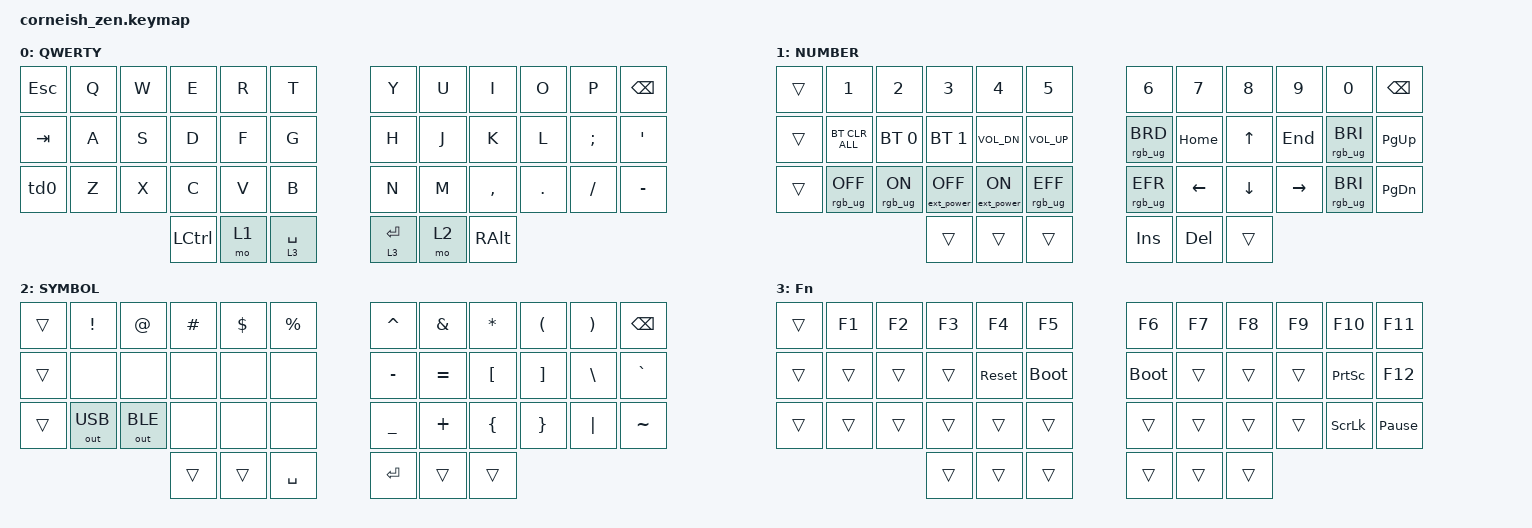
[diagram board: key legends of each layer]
/*
 * Copyright (c) 2020 The ZMK Contributors
 *
 * SPDX-License-Identifier: MIT
 */

#include <behaviors.dtsi>
#include <dt-bindings/zmk/bt.h>
#include <dt-bindings/zmk/ext_power.h>
#include <dt-bindings/zmk/keys.h>
#include <dt-bindings/zmk/outputs.h>
#include <dt-bindings/zmk/rgb.h>

/ {
    chosen {
        zmk,matrix_transform = &default_transform;

        // zmk,matrix_transform = &five_column_transform;
    };
};

/ {
    behaviors {
        td0: td0 {
            compatible = "zmk,behavior-tap-dance";
            label = "TD0";
            #binding-cells = <0>;
            bindings = <&kp LEFT_SHIFT>, <&kp CAPS>;
        };
    };

    keymap {
        compatible = "zmk,keymap";

        default_layer {
            display-name = "QWERTY";

            // --------------------------------------------------------------------------------
            // |  esc |  Q  |  W  |  E  |  R  |  T  |   |  Y  |  U   |  I  |  O  |  P  | BKSP |
            // | tab |  A  |  S  |  D  |  F  |  G  |   |  H  |  J   |  K  |  L  |  ;  |  '   | 
            // | SHFT |  Z  |  X  |  C  |  V  |  B  |   |  N  |  M   |  ,  |  .  |  /  | ESC  |
            //                    | CTRL | LWR | SPC |   | ENT | RSE  | ALT |

            bindings = <
&kp ESC    &kp Q  &kp W  &kp E     &kp R  &kp T          &kp Y        &kp U  &kp I      &kp O    &kp P     &kp BSPC
&kp TAB  &kp A  &kp S  &kp D     &kp F  &kp G          &kp H        &kp J  &kp K      &kp L    &kp SEMI  &kp SQT
&td0       &kp Z  &kp X  &kp C     &kp V  &kp B          &kp N        &kp M  &kp COMMA  &kp DOT  &kp FSLH  &kp MINUS
                         &kp LCTRL  &mo 1  &lt 3 SPACE    &lt 3 ENTER  &mo 2  &kp RALT
            >;
        };

        lower_layer {
            display-name = "NUMBER";

            // -----------------------------------------------------------------------------------------
            // |  TAB |  1  |  2  |  3  |  4  |  5  |   |  6  |  7  |  8  |  9  |  0  | BKSP |
            // | BTCLR| BT1 | BT2 | BT3 | BT4 | BT5 |   | LFT | DWN |  UP | RGT |     |      |
            // | SHFT |     |     |     |     |     |   |     |     |     |     |     |      |
            //                    | GUI |     | SPC |   | ENT |     | ALT |

            bindings = <
&trans  &kp N1           &kp N2          &kp N3             &kp N4            &kp N5             &kp N6           &kp N7           &kp N8           &kp N9           &kp N0            &kp BSPC
&trans  &bt BT_CLR_ALL   &bt BT_SEL 0    &bt BT_SEL 1       &kp C_VOL_DN      &kp C_VOL_UP       &rgb_ug RGB_BRD  &kp HOME         &kp UP           &kp END          &rgb_ug RGB_BRI   &kp PG_UP
&trans  &rgb_ug RGB_OFF  &rgb_ug RGB_ON  &ext_power EP_OFF  &ext_power EP_ON  &rgb_ug RGB_EFF    &rgb_ug RGB_EFR  &kp LEFT         &kp DOWN         &kp RIGHT        &rgb_ug RGB_BRI   &kp PG_DN
                                         &trans             &trans            &trans             &kp INS          &kp DEL          &trans
            >;
        };

        raise_layer {
            display-name = "SYMBOL";

            // -----------------------------------------------------------------------------------------
            // |  TAB |  !  |  @  |  #  |  $  |  %  |   |  ^  |  &  |  *  |  (  |  )  | BKSP |
            // | CTRL |     |     |     |     |     |   |  -  |  =  |  [  |  ]  |  \  |  `   |
            // | SHFT |     |     |     |     |     |   |  _  |  +  |  {  |  }  | "|" |  ~   |
            //                    | GUI |     | SPC |   | ENT |     | ALT |

            bindings = <
&trans  &kp EXCL      &kp AT        &kp HASH  &kp DLLR  &kp PRCNT    &kp CARET  &kp AMPS   &kp ASTRK  &kp LPAR  &kp RPAR  &kp BSPC
&trans  &none         &none         &none     &none     &none        &kp MINUS  &kp EQUAL  &kp LBKT   &kp RBKT  &kp BSLH  &kp GRAVE
&trans  &out OUT_USB  &out OUT_BLE  &none     &none     &none        &kp UNDER  &kp PLUS   &kp LBRC   &kp RBRC  &kp PIPE  &kp TILDE
                                    &trans    &trans    &kp SPACE    &kp RET    &trans     &trans
            >;
        };

        layer_3 {
            display-name = "Fn";
            bindings = <
&trans  &kp F1  &kp F2  &kp F3  &kp F4      &kp F5         &kp F6       &kp F7  &kp F8  &kp F9  &kp F10          &kp F11
&trans  &trans  &trans  &trans  &sys_reset  &bootloader    &bootloader  &trans  &trans  &trans  &kp PRINTSCREEN  &kp F12
&trans  &trans  &trans  &trans  &trans      &trans         &trans       &trans  &trans  &trans  &kp SCROLLLOCK   &kp PAUSE_BREAK
                        &trans  &trans      &trans         &trans       &trans  &trans
            >;
        };
    };
};
